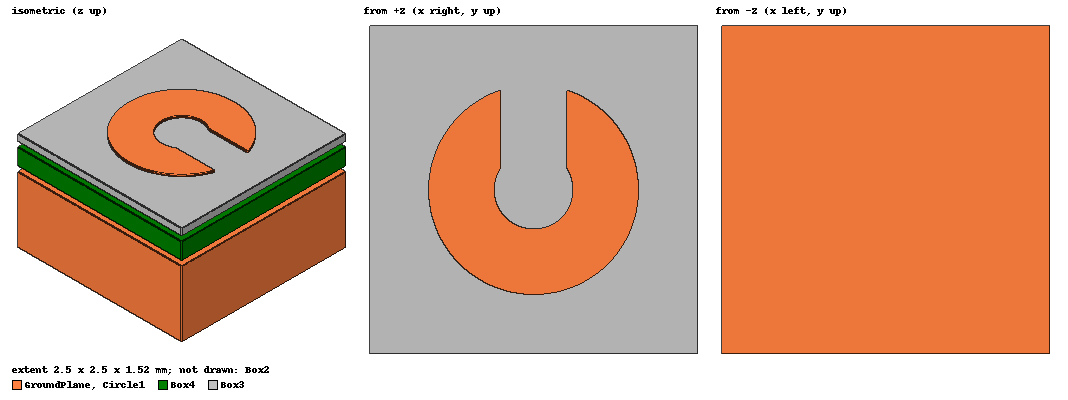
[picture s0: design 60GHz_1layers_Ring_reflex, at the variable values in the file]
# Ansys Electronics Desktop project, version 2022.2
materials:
  PVC plastic: permittivity=2.7 dielectric_loss_tangent=0.007
  Paper: permittivity=3.78 dielectric_loss_tangent=0.01
  aluminum: permeability=1.000021 conductivity=38000000
  vacuum: permittivity=1

design 60GHz_1layers_Ring_reflex (HFSS, DrivenModal, model units mm)
options: Save_Adaptive_support_files
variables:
  L = 2.5mm
  H = 0.1mm
  H_a = 0mm
  llambda = 5mm
  h_pvc = 0.4mm
  t_metal = 20um
  R1 = 0.8mm
  R2 = R1-Rw
  G = 0.5mm
  G_angle = 0deg
  Rw = 0.5mm
  airGap = 0.075mm
  t_plate = 1mm
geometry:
  Box2 [vacuum] = box(corner=(0mm, 0mm, -llambda/2), size=(L, L, llambda+H_a+(h+h_pvc+12um)*2))
  coordinate_system RelativeCS1 = origin=(L/2, L/2, 0mm) x=(1mm, 0mm, 0mm) y=(0mm, 1mm, 0mm)
  GroundPlane [aluminum] = rectangle(corner=(-L/2, -L/2, h_pvc+h), x_size=L, y_size=L) in RelativeCS1
  GroundPlane.thicken(t_plate)
  Box3 [Paper] = box(corner=(0mm, 0mm, h_pvc), size=(L, L, h))
  Box4 [PVC plastic] = box(corner=(0mm, 0mm, 0), size=(L, L, h_pvc-airGap*2))
  coordinate_system RelativeCS2 = origin=(L/2, L/2, 0mm) x=(1mm, 0mm, 0mm) y=(0mm, 1mm, 0mm) in RelativeCS1
  GroundPlane.move(0mm, 0mm, -H-h_pvc-t_plate) in RelativeCS1
  Circle1 [aluminum] = circle(normal=Z, centre=(0, 0, h_pvc+h), radius=R1) in RelativeCS1
  Circle1.thicken(t_metal)
  Circle2 = circle(normal=Z, centre=(0, 0, h_pvc+h), radius=R2) in RelativeCS1
  Circle2.thicken(t_metal)
  Circle1.subtract(Circle2)
  Rectangle26 = rectangle(corner=(-G/2, 0mm, h_pvc+h), x_size=G, y_size=R1) in RelativeCS1
  Rectangle26.thicken(t_metal)
  Rectangle26.rotate(axis=Z, angle=G_angle) in RelativeCS1
  Circle1.subtract(Rectangle26)
  Box4.move(0mm, 0mm, airGap) in RelativeCS1
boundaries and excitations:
  Master1: Primary Faces=Box2.face(-y) CoordSysVector{(0, 0, 0.2161014) -> (2.5, 0, 0.2161014)} ReverseV
  Master2: Primary Faces=Box2.face(-x) CoordSysVector{(0, 0, 0.2161014) -> (0, 2.5, 0.2161014)}
  Slave1: Secondary Faces=Box2.face(+y) CoordSysVector{(0, 2.5, 0.2161014) -> (2.5, 2.5, 0.2161014)} primary=Master1 PhaseDelay=UseScanAngle Phi=0 Theta=0
  Slave2: Secondary Faces=Box2.face(+x) CoordSysVector{(2.5, 0, 0.2161014) -> (2.5, 2.5, 0.2161014)} ReverseV primary=Master2 PhaseDelay=UseScanAngle Phi=0 Theta=0
  FloquetPort1: Floquet Port Faces=Box2.face(+z) NumModes=2 DeembedDist=llambda/2+h_a+(h+h_pvc+12um) Modes{Mode1{CharImp=Zpi} Mode2{CharImp=Zpi}} PhaseDelay=UseScanAngle Phi=0 Theta=0 LatticeAVector{(0, 0, 3.524) -> (2.5, 0, 3.524)} LatticeBVector{(0, 0, 3.524) -> (0, 2.5, 3.524)} ModesList{Mode{ModeNumber=1 IndexM=0 IndexN=0 KC2=0 PropagationState=Propagating Attenuation=0 PolarizationState=TE AffectsRefinement} Mode{ModeNumber=2 IndexM=0 IndexN=0 KC2=0 PropagationState=Propagating Attenuation=0 PolarizationState=TM AffectsRefinement}}
  FloquetPort2: Floquet Port Faces=Box2.face(-z) NumModes=2 DeembedDist=llambda/2 Modes{Mode1{CharImp=Zpi} Mode2{CharImp=Zpi}} PhaseDelay=UseScanAngle Phi=0 Theta=0 LatticeAVector{(0, 0, -2.5) -> (2.5, 0, -2.5)} LatticeBVector{(0, 0, -2.5) -> (0, 2.5, -2.5)} ModesList{Mode{ModeNumber=1 IndexM=0 IndexN=0 KC2=0 PropagationState=Propagating Attenuation=0 PolarizationState=TE AffectsRefinement} Mode{ModeNumber=2 IndexM=0 IndexN=0 KC2=0 PropagationState=Propagating Attenuation=0 PolarizationState=TM AffectsRefinement}}
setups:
  Setup1: HfssDriven Frequency=80GHz MaxDeltaS=0.001 MaximumPasses=10 MinimumPasses=1 MinimumConvergedPasses=1 PercentRefinement=30 BasisOrder=1 PortAccuracy=2 DrivenSolverType="Direct Solver"
    sweep Sweep: 40GHz to 80GHz, 401 points; Type=Interpolating InterpTolerance=0.5 InterpMaxSolns=250 InterpUsePortImped=false PassivityErrorTolerance=0.0001
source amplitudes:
  FloquetPort1:1: 1W 0deg
  FloquetPort1:2, FloquetPort2:1, FloquetPort2:2: 0W 0deg
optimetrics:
  main_sweep: Parametric Sim._Setups=[Setup1]
    sweep R1: LIN 0.6mm 1.1mm 0.1mm
    sweep G: LIN 0.3mm 0.7mm 0.2mm
    sweep Rw: LIN 0.4mm 0.5mm 0.1mm
  large_rings: Parametric Sim._Setups=[Setup1]
    sweep R1: 1mm 1.1mm
    sweep G: LIN 0.3mm 0.7mm 0.2mm
    sweep Rw: LIN 0.3mm 0.5mm 0.2mm
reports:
  S11 amplitude: dB(S(FloquetPort1:2,FloquetPort1:2)) vs Freq on Setup1 : Sweep
  S11 phase: ang_deg(S(FloquetPort1:2,FloquetPort1:2)) vs Freq on Setup1 : Sweep [Freq=40GHz,40.5GHz,41GHz,41.5GHz,42GHz,42.5GHz,43GHz,43.5GHz,44GHz,44.5GHz,45GHz,45.5GHz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]; markers MX1 at x=6.0029674e+10
  S11 phase selected6: ang_deg(S(FloquetPort1:2,FloquetPort1:2)) vs Freq on Setup1 : Sweep [Freq=40GHz,40.5GHz,41GHz,41.5GHz,42GHz,42.5GHz,43GHz,43.5GHz,44GHz,44.5GHz,45GHz,45.5GHz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]; markers MX1 at x=6.0061162e+10
  S11 amplitude selected6: dB(S(FloquetPort1:2,FloquetPort1:2)) vs Freq on Setup1 : Sweep [Freq=40GHz,40.5GHz,41GHz,41.5GHz,42GHz,42.5GHz,43GHz,43.5GHz,44GHz,44.5GHz,45GHz,45.5GHz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]
